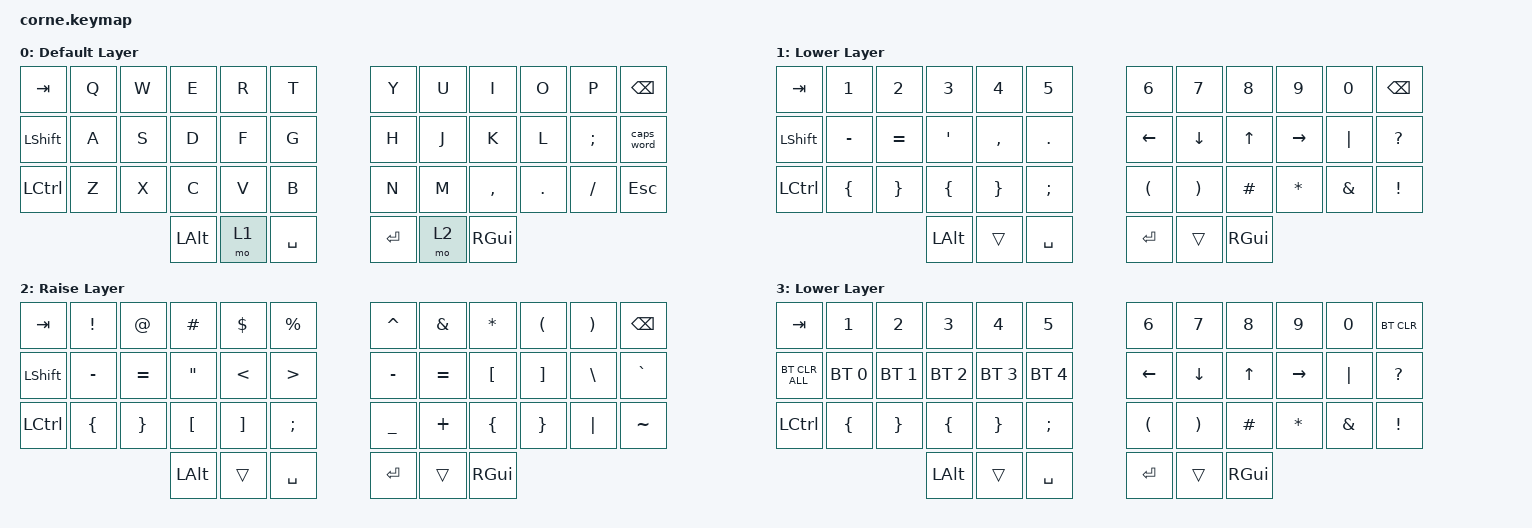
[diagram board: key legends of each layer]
/*
 * Copyright (c) 2020 The ZMK Contributors
 *
 * SPDX-License-Identifier: MIT
 */

#include <behaviors.dtsi>
#include <dt-bindings/zmk/bt.h>
#include <dt-bindings/zmk/keys.h>

/ {
    combos {
        compatible = "zmk,combos";

        BT_COMBO_LAYER {
            bindings = <&mo 3>;
            key-positions = <36 37>;
        };
    };

    keymap {
        compatible = "zmk,keymap";

        default_layer {
            display-name = "Default Layer";

            // -----------------------------------------------------------------------------------------
            // |  TAB |  Q  |  W  |  E  |  R  |  T  |   |  Y  |  U   |  I  |  O  |  P  | BSPC |
            // | SHFT |  A  |  S  |  D  |  F  |  G  |   |  H  |  J   |  K  |  L  |  ;  |  '   |
            // | CTRL |  Z  |  X  |  C  |  V  |  B  |   |  N  |  M   |  ,  |  .  |  /  | ESC  |
            //                    | GUI | LWR | SPC |   | ENT | RSE  | ALT |

            bindings = <
&kp TAB    &kp Q  &kp W  &kp E         &kp R  &kp T        &kp Y    &kp U  &kp I      &kp O    &kp P     &kp BSPC
&kp LSHFT  &kp A  &kp S  &kp D         &kp F  &kp G        &kp H    &kp J  &kp K      &kp L    &kp SEMI  &caps_word
&kp LCTRL  &kp Z  &kp X  &kp C         &kp V  &kp B        &kp N    &kp M  &kp COMMA  &kp DOT  &kp FSLH  &kp ESC
                         &kp LEFT_ALT  &mo 1  &kp SPACE    &kp RET  &mo 2  &kp RGUI
            >;
        };

        lower_layer {
            display-name = "Lower Layer";

            // -----------------------------------------------------------------------------------------
            // |  TAB |  1  |  2  |  3  |  4  |  5  |   |  6  |  7  |  8  |  9  |  0  | BTCLR |
            // | LSHIFT| BT1 | BT2 | BT3 | BT4 | BT5 |   | LFT | DWN |  UP | RGT |     |      |
            // | CTRL |     |     |     |     |     |   |     |     |     |     |     |      |
            //                    | GUI |     | SPC |   | ENT |     | ALT |

            bindings = <
&kp TAB    &kp N1          &kp N2           &kp N3        &kp N4     &kp N5        &kp N6                &kp N7                 &kp N8    &kp N9        &kp N0         &kp BACKSPACE
&kp LSHFT  &kp MINUS       &kp EQUAL        &kp SQT       &kp COMMA  &kp PERIOD    &kp LEFT              &kp DOWN               &kp UP    &kp RIGHT     &kp PIPE       &kp QUESTION
&kp LCTRL  &kp LEFT_BRACE  &kp RIGHT_BRACE  &kp LBRC      &kp RBRC   &kp SEMI      &kp LEFT_PARENTHESIS  &kp RIGHT_PARENTHESIS  &kp HASH  &kp ASTERISK  &kp AMPERSAND  &kp EXCLAMATION
                                            &kp LEFT_ALT  &trans     &kp SPACE     &kp RET               &trans                 &kp RGUI
            >;
        };

        raise_layer {
            display-name = "Raise Layer";

            // -----------------------------------------------------------------------------------------
            // |  TAB |  !  |  @  |  #  |  $  |  %  |   |  ^  |  &  |  *  |  (  |  )  | BSPC |
            // | SHFT |     |     |     |     |     |   |  -  |  =  |  [  |  ]  |  \  |  `   |
            // | CTRL |     |     |     |     |     |   |  _  |  +  |  {  |  }  | "|" |  ~   |
            //                    | GUI |     | SPC |   | ENT |     | ALT |

            bindings = <
&kp TAB     &kp EXCL        &kp AT           &kp HASH      &kp DLLR  &kp PRCNT    &kp CARET  &kp AMPS   &kp ASTRK  &kp LPAR  &kp RPAR  &kp BSPC
&kp LSHIFT  &kp MINUS       &kp EQUAL        &kp DQT       &kp LT    &kp GT       &kp MINUS  &kp EQUAL  &kp LBKT   &kp RBKT  &kp BSLH  &kp GRAVE
&kp LCTRL   &kp LEFT_BRACE  &kp RIGHT_BRACE  &kp LBKT      &kp RBKT  &kp SEMI     &kp UNDER  &kp PLUS   &kp LBRC   &kp RBRC  &kp PIPE  &kp TILDE
                                             &kp LEFT_ALT  &trans    &kp SPACE    &kp RET    &trans     &kp RGUI
            >;
        };

        layer_3 {
            display-name = "Lower Layer";
            bindings = <
&kp TAB         &kp N1          &kp N2           &kp N3        &kp N4        &kp N5          &kp N6                &kp N7                 &kp N8    &kp N9        &kp N0         &bt BT_CLR
&bt BT_CLR_ALL  &bt BT_SEL 0    &bt BT_SEL 1     &bt BT_SEL 2  &bt BT_SEL 3  &bt BT_SEL 4    &kp LEFT              &kp DOWN               &kp UP    &kp RIGHT     &kp PIPE       &kp QUESTION
&kp LCTRL       &kp LEFT_BRACE  &kp RIGHT_BRACE  &kp LBRC      &kp RBRC      &kp SEMI        &kp LEFT_PARENTHESIS  &kp RIGHT_PARENTHESIS  &kp HASH  &kp ASTERISK  &kp AMPERSAND  &kp EXCLAMATION
                                                 &kp LEFT_ALT  &trans        &kp SPACE       &kp RET               &trans                 &kp RGUI
            >;
        };
    };
};
